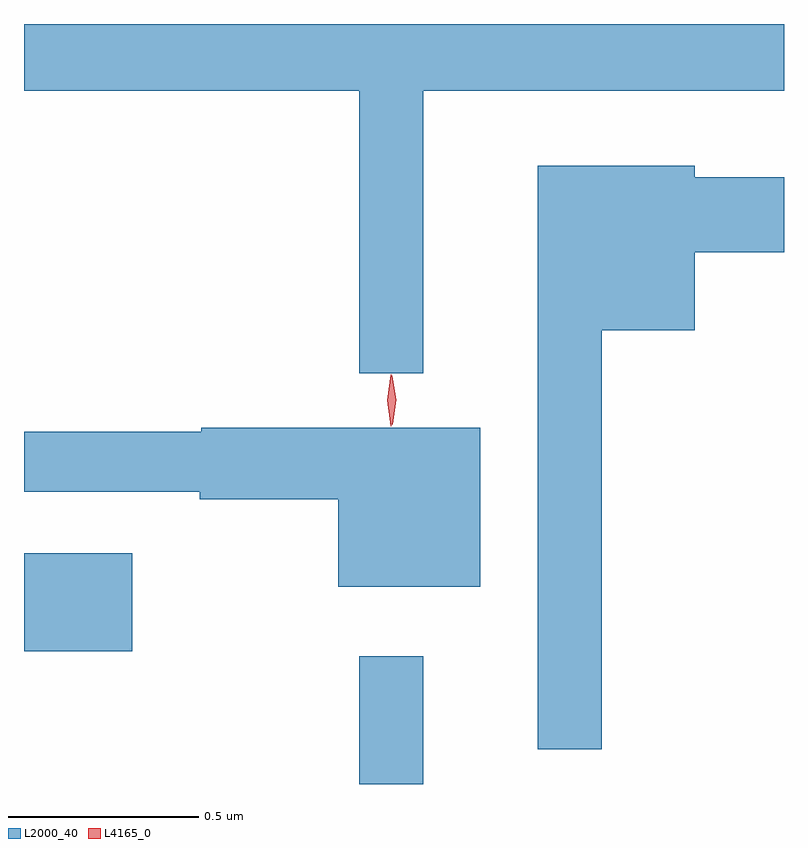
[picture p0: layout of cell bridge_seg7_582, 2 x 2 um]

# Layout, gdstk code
import gdstk
lib = gdstk.Library(unit=1e-6, precision=1e-09)
def R(c, l, rs):  # rectangles x0, y0, x1, y1
    for r in rs: c.add(gdstk.rectangle(r[:2], r[2:], *l))
def P(c, l, *ps):  # polygons
    for p in ps: c.add(gdstk.Polygon(p, *l))
L2000_40 = (2000, 40)
L4165_0 = (4165, 0)

bridge_seg7_582 = lib.new_cell('bridge_seg7_582')
R(bridge_seg7_582, L2000_40, [(977.181,1765.772,977.349,1766.108), (976.299,1766.121,976.584,1766.379)])
P(bridge_seg7_582, L2000_40, [(977.349,1767.596),(978.299,1767.596),(978.299,1767.772),(976.299,1767.772),(976.299,1767.596),(977.181,1767.596),(977.181,1766.853),(977.349,1766.853)],
  [(977.819,1766.966),(978.064,1766.966),(978.064,1767.171),(978.299,1767.171),(978.299,1767.369),(978.064,1767.369),(978.064,1767.399),(977.651,1767.399),(977.651,1765.863),(977.819,1765.863)],
  [(977.499,1766.709),(976.765,1766.709),(976.765,1766.699),(976.299,1766.699),(976.299,1766.541),(976.761,1766.541),(976.761,1766.521),(977.126,1766.521),(977.126,1766.291),(977.499,1766.291)])
P(bridge_seg7_582, L4165_0, [(977.265,1766.713),(977.264,1766.714),(977.255,1766.782),(977.264,1766.849),(977.265,1766.85),(977.265,1766.849),(977.275,1766.782),(977.265,1766.714)],
  [(977.268,1766.718),(977.268,1766.719),(977.258,1766.783),(977.267,1766.846),(977.267,1766.847),(977.268,1766.846),(977.278,1766.783),(977.269,1766.719)])

lib.write_gds('bridge_seg7_582.gds')
